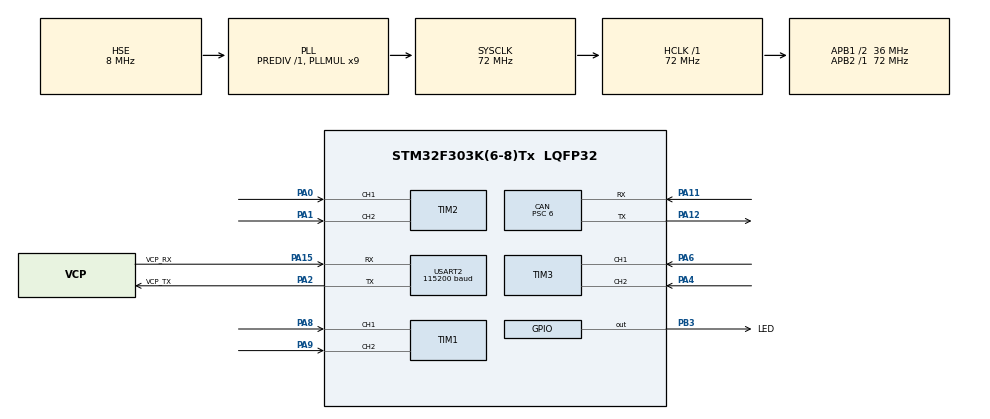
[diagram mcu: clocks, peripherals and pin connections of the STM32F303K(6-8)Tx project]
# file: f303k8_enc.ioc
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CAN.BS1=CAN_BS1_2TQ
CAN.BS2=CAN_BS2_3TQ
CAN.CalculateTimeQuantum=166.66666666666669
CAN.Prescaler=6
Mcu.Family=STM32F3
Mcu.Name=STM32F303K(6-8)Tx
Mcu.Package=LQFP32
NVIC.PriorityGroup=NVIC_PRIORITYGROUP_4
NVIC.TIM1_UP_TIM16_IRQn=true\:0\:0\:false\:false\:true\:true\:true
PA0.Signal=S_TIM2_CH1_ETR
PA1.Signal=S_TIM2_CH2
PA11.Mode=Master
PA11.Signal=CAN_RX
PA12.Mode=Master
PA12.Signal=CAN_TX
PA13.GPIO_Label=SWDIO
PA13.Mode=Serial_Wire
PA13.Signal=SYS_JTMS-SWDIO
PA14.GPIO_Label=SWCLK
PA14.Mode=Serial_Wire
PA14.Signal=SYS_JTCK-SWCLK
PA15.GPIO_Label=VCP_RX
PA15.Mode=Asynchronous
PA15.Signal=USART2_RX
PA2.GPIO_Label=VCP_TX
PA2.Mode=Asynchronous
PA2.Signal=USART2_TX
PA4.Signal=S_TIM3_CH2
PA6.Signal=S_TIM3_CH1
PA8.Signal=S_TIM1_CH1
PA9.Signal=S_TIM1_CH2
PB3.GPIO_Label=LED
PB3.Signal=GPIO_Output
PF0\ /\ OSC_IN.GPIO_Label=MCO
PF0\ /\ OSC_IN.Mode=HSE-External-Clock-Source
PF0\ /\ OSC_IN.Signal=RCC_OSC_IN
ProjectManager.HeapSize=0x200
ProjectManager.StackSize=0x400
ProjectManager.TargetToolchain=STM32CubeIDE
RCC.AHBFreq_Value=72000000
RCC.APB1CLKDivider=RCC_HCLK_DIV2
RCC.APB1Freq_Value=36000000
RCC.APB1TimFreq_Value=72000000
RCC.APB2Freq_Value=72000000
RCC.APB2TimFreq_Value=72000000
RCC.CortexFreq_Value=72000000
RCC.HCLKFreq_Value=72000000
RCC.HSE_VALUE=8000000
RCC.HSI_VALUE=8000000
RCC.PLLMUL=RCC_PLL_MUL9
RCC.PLLSourceVirtual=RCC_PLLSOURCE_HSE
RCC.SYSCLKFreq_VALUE=72000000
RCC.SYSCLKSourceVirtual=RCC_SYSCLKSOURCE_PLLCLK
SH.S_TIM1_CH1.0=TIM1_CH1,Encoder_Interface
SH.S_TIM1_CH2.0=TIM1_CH2,Encoder_Interface
SH.S_TIM2_CH1_ETR.0=TIM2_CH1,Encoder_Interface
SH.S_TIM2_CH2.0=TIM2_CH2,Encoder_Interface
SH.S_TIM3_CH1.0=TIM3_CH1,Encoder_Interface
SH.S_TIM3_CH2.0=TIM3_CH2,Encoder_Interface
TIM16.Period=7200
TIM16.Prescaler=99
USART2.BaudRate=115200
USART2.VirtualMode-Asynchronous=VM_ASYNC
VP_TIM16_VS_ClockSourceINT.Mode=Enable_Timer
board=NUCLEO-F303K8

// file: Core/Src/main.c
/* USER CODE BEGIN Header */
/**
 ******************************************************************************
 * @file           : main.c
 * @brief          : Main program body
 ******************************************************************************
 * @attention
 *
 * <h2><center>&copy; Copyright (c) 2021 STMicroelectronics.
 * All rights reserved.</center></h2>
 *
 * This software component is licensed by ST under BSD 3-Clause license,
 * the "License"; You may not use this file except in compliance with the
 * License. You may obtain a copy of the License at:
 *                        opensource.org/licenses/BSD-3-Clause
 *
 ******************************************************************************
 */
/* USER CODE END Header */
#include "main.h"

/* USER CODE BEGIN Includes */
#include "xprintf.h"
/* USER CODE END Includes */

CAN_HandleTypeDef hcan;

TIM_HandleTypeDef htim1;
TIM_HandleTypeDef htim2;
TIM_HandleTypeDef htim3;
TIM_HandleTypeDef htim16;

UART_HandleTypeDef huart2;

void SystemClock_Config(void);
static void MX_GPIO_Init(void);
static void MX_USART2_UART_Init(void);
static void MX_TIM1_Init(void);
static void MX_TIM2_Init(void);
static void MX_TIM3_Init(void);
static void MX_TIM16_Init(void);
static void MX_CAN_Init(void);

/* USER CODE BEGIN 0 */
void uart_putc(uint8_t c) {
	char buf[1];
	buf[0] = c;
	HAL_UART_Transmit(&huart2, (uint8_t*) buf, sizeof(buf), 0xFFFF);
}
void uart_puts(char *str) {
	while (*str) {
		uart_putc(*str++);
	}
}
TIM_Encoder_InitTypeDef sConfig1 = { 0 };
TIM_Encoder_InitTypeDef sConfig2 = { 0 };
TIM_Encoder_InitTypeDef sConfig3 = { 0 };
TIM_MasterConfigTypeDef sMasterConfig1 = { 0 };
TIM_MasterConfigTypeDef sMasterConfig2 = { 0 };
TIM_MasterConfigTypeDef sMasterConfig3 = { 0 };
int32_t rpm[3] = { 0 };
void Count2rpm() {
	rpm[0] =TIM1->CNT - 30000;
	rpm[1] =TIM2->CNT - 30000;
	rpm[2] =TIM3->CNT - 30000;
	TIM1->CNT = 30000;
	TIM2->CNT = 30000;
	TIM3->CNT = 30000;
}
/* USER CODE END 0 */

int main(void)
{
  /* USER CODE BEGIN 1 */
	xdev_out(uart_putc);

  /* USER CODE END 1 */

  /* MCU Configuration--------------------------------------------------------*/

  /* Reset of all peripherals, Initializes the Flash interface and the Systick. */
  HAL_Init();

  /* Configure the system clock */
  SystemClock_Config();

  /* Initialize all configured peripherals */
  MX_GPIO_Init();
  MX_USART2_UART_Init();
  MX_TIM1_Init();
  MX_TIM2_Init();
  MX_TIM3_Init();
  MX_TIM16_Init();
  MX_CAN_Init();
  /* USER CODE BEGIN 2 */
	if (HAL_TIM_Encoder_Init(&htim1, &sConfig1) != HAL_OK) {
		Error_Handler();
	}
	HAL_TIM_Encoder_Start(&htim1, TIM_CHANNEL_ALL);
	TIM1->CNT = 30000;
	if (HAL_TIM_Encoder_Init(&htim2, &sConfig2) != HAL_OK) {
		Error_Handler();
	}
	HAL_TIM_Encoder_Start(&htim2, TIM_CHANNEL_ALL);
	TIM2->CNT = 30000;
	if (HAL_TIM_Encoder_Init(&htim3, &sConfig3) != HAL_OK) {
		Error_Handler();
	}
	HAL_TIM_Encoder_Start(&htim3, TIM_CHANNEL_ALL);
	TIM3->CNT = 30000;
	HAL_TIM_Base_Start_IT(&htim16);
  /* USER CODE END 2 */

  /* Infinite loop */
  /* USER CODE BEGIN WHILE */
	while (1) {
		HAL_GPIO_TogglePin(LED_GPIO_Port, LED_Pin);
		//xprintf("test\r\n");
		xprintf("%d\t,%d\t,%d\r\n", rpm[0], rpm[1], rpm[2]);
//		xprintf("%d\t,%d\t,%d\r\n", TIM1->CNT, TIM2->CNT, TIM3->CNT);
		HAL_Delay(100);
    /* USER CODE END WHILE */

	}
}

void SystemClock_Config(void)
{
  RCC_OscInitTypeDef RCC_OscInitStruct = {0};
  RCC_ClkInitTypeDef RCC_ClkInitStruct = {0};
  RCC_PeriphCLKInitTypeDef PeriphClkInit = {0};

  /** Initializes the RCC Oscillators according to the specified parameters
  * in the RCC_OscInitTypeDef structure.
  */
  RCC_OscInitStruct.OscillatorType = RCC_OSCILLATORTYPE_HSE;
  RCC_OscInitStruct.HSEState = RCC_HSE_BYPASS;
  RCC_OscInitStruct.HSEPredivValue = RCC_HSE_PREDIV_DIV1;
  RCC_OscInitStruct.HSIState = RCC_HSI_ON;
  RCC_OscInitStruct.PLL.PLLState = RCC_PLL_ON;
  RCC_OscInitStruct.PLL.PLLSource = RCC_PLLSOURCE_HSE;
  RCC_OscInitStruct.PLL.PLLMUL = RCC_PLL_MUL9;
  if (HAL_RCC_OscConfig(&RCC_OscInitStruct) != HAL_OK)
  {
    Error_Handler();
  }
  /** Initializes the CPU, AHB and APB buses clocks
  */
  RCC_ClkInitStruct.ClockType = RCC_CLOCKTYPE_HCLK|RCC_CLOCKTYPE_SYSCLK
                              |RCC_CLOCKTYPE_PCLK1|RCC_CLOCKTYPE_PCLK2;
  RCC_ClkInitStruct.SYSCLKSource = RCC_SYSCLKSOURCE_PLLCLK;
  RCC_ClkInitStruct.AHBCLKDivider = RCC_SYSCLK_DIV1;
  RCC_ClkInitStruct.APB1CLKDivider = RCC_HCLK_DIV2;
  RCC_ClkInitStruct.APB2CLKDivider = RCC_HCLK_DIV1;

  if (HAL_RCC_ClockConfig(&RCC_ClkInitStruct, FLASH_LATENCY_2) != HAL_OK)
  {
    Error_Handler();
  }
  PeriphClkInit.PeriphClockSelection = RCC_PERIPHCLK_TIM1;
  PeriphClkInit.Tim1ClockSelection = RCC_TIM1CLK_HCLK;
  if (HAL_RCCEx_PeriphCLKConfig(&PeriphClkInit) != HAL_OK)
  {
    Error_Handler();
  }
}

static void MX_CAN_Init(void)
{

  hcan.Instance = CAN;
  hcan.Init.Prescaler = 6;
  hcan.Init.Mode = CAN_MODE_NORMAL;
  hcan.Init.SyncJumpWidth = CAN_SJW_1TQ;
  hcan.Init.TimeSeg1 = CAN_BS1_2TQ;
  hcan.Init.TimeSeg2 = CAN_BS2_3TQ;
  hcan.Init.TimeTriggeredMode = DISABLE;
  hcan.Init.AutoBusOff = DISABLE;
  hcan.Init.AutoWakeUp = DISABLE;
  hcan.Init.AutoRetransmission = DISABLE;
  hcan.Init.ReceiveFifoLocked = DISABLE;
  hcan.Init.TransmitFifoPriority = DISABLE;
  if (HAL_CAN_Init(&hcan) != HAL_OK)
  {
    Error_Handler();
  }

}

static void MX_TIM1_Init(void)
{

  TIM_Encoder_InitTypeDef sConfig = {0};
  TIM_MasterConfigTypeDef sMasterConfig = {0};

  /* USER CODE BEGIN TIM1_Init 1 */
	htim1.Instance = TIM1;
	htim1.Init.Prescaler = 0;
	htim1.Init.CounterMode = TIM_COUNTERMODE_UP;
	htim1.Init.Period = 65535;
	htim1.Init.ClockDivision = TIM_CLOCKDIVISION_DIV1;
	htim1.Init.RepetitionCounter = 0;
	htim1.Init.AutoReloadPreload = TIM_AUTORELOAD_PRELOAD_DISABLE;
	sConfig1.EncoderMode = TIM_ENCODERMODE_TI1;
	sConfig1.IC1Polarity = TIM_ICPOLARITY_RISING;
	sConfig1.IC1Selection = TIM_ICSELECTION_DIRECTTI;
	sConfig1.IC1Prescaler = TIM_ICPSC_DIV1;
	sConfig1.IC1Filter = 0;
	sConfig1.IC2Polarity = TIM_ICPOLARITY_RISING;
	sConfig1.IC2Selection = TIM_ICSELECTION_DIRECTTI;
	sConfig1.IC2Prescaler = TIM_ICPSC_DIV1;
	sConfig1.IC2Filter = 0;
	if (HAL_TIM_Encoder_Init(&htim1, &sConfig1) != HAL_OK) {
		Error_Handler();
	}
	sMasterConfig1.MasterOutputTrigger = TIM_TRGO_RESET;
	sMasterConfig1.MasterOutputTrigger2 = TIM_TRGO2_RESET;
	sMasterConfig1.MasterSlaveMode = TIM_MASTERSLAVEMODE_DISABLE;
	if (HAL_TIMEx_MasterConfigSynchronization(&htim1, &sMasterConfig1)
			!= HAL_OK) {
		Error_Handler();
	}

  /* USER CODE END TIM1_Init 1 */
  htim1.Instance = TIM1;
  htim1.Init.Prescaler = 0;
  htim1.Init.CounterMode = TIM_COUNTERMODE_UP;
  htim1.Init.Period = 65535;
  htim1.Init.ClockDivision = TIM_CLOCKDIVISION_DIV1;
  htim1.Init.RepetitionCounter = 0;
  htim1.Init.AutoReloadPreload = TIM_AUTORELOAD_PRELOAD_DISABLE;
  sConfig.EncoderMode = TIM_ENCODERMODE_TI1;
  sConfig.IC1Polarity = TIM_ICPOLARITY_RISING;
  sConfig.IC1Selection = TIM_ICSELECTION_DIRECTTI;
  sConfig.IC1Prescaler = TIM_ICPSC_DIV1;
  sConfig.IC1Filter = 0;
  sConfig.IC2Polarity = TIM_ICPOLARITY_RISING;
  sConfig.IC2Selection = TIM_ICSELECTION_DIRECTTI;
  sConfig.IC2Prescaler = TIM_ICPSC_DIV1;
  sConfig.IC2Filter = 0;
  if (HAL_TIM_Encoder_Init(&htim1, &sConfig) != HAL_OK)
  {
    Error_Handler();
  }
  sMasterConfig.MasterOutputTrigger = TIM_TRGO_RESET;
  sMasterConfig.MasterOutputTrigger2 = TIM_TRGO2_RESET;
  sMasterConfig.MasterSlaveMode = TIM_MASTERSLAVEMODE_DISABLE;
  if (HAL_TIMEx_MasterConfigSynchronization(&htim1, &sMasterConfig) != HAL_OK)
  {
    Error_Handler();
  }

}

static void MX_TIM2_Init(void)
{

  TIM_Encoder_InitTypeDef sConfig = {0};
  TIM_MasterConfigTypeDef sMasterConfig = {0};

  /* USER CODE BEGIN TIM2_Init 1 */
	htim2.Instance = TIM2;
	htim2.Init.Prescaler = 0;
	htim2.Init.CounterMode = TIM_COUNTERMODE_UP;
	htim2.Init.Period = 4294967295;
	htim2.Init.ClockDivision = TIM_CLOCKDIVISION_DIV1;
	htim2.Init.AutoReloadPreload = TIM_AUTORELOAD_PRELOAD_DISABLE;
	sConfig2.EncoderMode = TIM_ENCODERMODE_TI1;
	sConfig2.IC1Polarity = TIM_ICPOLARITY_RISING;
	sConfig2.IC1Selection = TIM_ICSELECTION_DIRECTTI;
	sConfig2.IC1Prescaler = TIM_ICPSC_DIV1;
	sConfig2.IC1Filter = 0;
	sConfig2.IC2Polarity = TIM_ICPOLARITY_RISING;
	sConfig2.IC2Selection = TIM_ICSELECTION_DIRECTTI;
	sConfig2.IC2Prescaler = TIM_ICPSC_DIV1;
	sConfig2.IC2Filter = 0;
	if (HAL_TIM_Encoder_Init(&htim2, &sConfig2) != HAL_OK) {
		Error_Handler();
	}
	sMasterConfig2.MasterOutputTrigger = TIM_TRGO_RESET;
	sMasterConfig2.MasterSlaveMode = TIM_MASTERSLAVEMODE_DISABLE;
	if (HAL_TIMEx_MasterConfigSynchronization(&htim2, &sMasterConfig2)
			!= HAL_OK) {
		Error_Handler();
	}

  /* USER CODE END TIM2_Init 1 */
  htim2.Instance = TIM2;
  htim2.Init.Prescaler = 0;
  htim2.Init.CounterMode = TIM_COUNTERMODE_UP;
  htim2.Init.Period = 4294967295;
  htim2.Init.ClockDivision = TIM_CLOCKDIVISION_DIV1;
  htim2.Init.AutoReloadPreload = TIM_AUTORELOAD_PRELOAD_DISABLE;
  sConfig.EncoderMode = TIM_ENCODERMODE_TI1;
  sConfig.IC1Polarity = TIM_ICPOLARITY_RISING;
  sConfig.IC1Selection = TIM_ICSELECTION_DIRECTTI;
  sConfig.IC1Prescaler = TIM_ICPSC_DIV1;
  sConfig.IC1Filter = 0;
  sConfig.IC2Polarity = TIM_ICPOLARITY_RISING;
  sConfig.IC2Selection = TIM_ICSELECTION_DIRECTTI;
  sConfig.IC2Prescaler = TIM_ICPSC_DIV1;
  sConfig.IC2Filter = 0;
  if (HAL_TIM_Encoder_Init(&htim2, &sConfig) != HAL_OK)
  {
    Error_Handler();
  }
  sMasterConfig.MasterOutputTrigger = TIM_TRGO_RESET;
  sMasterConfig.MasterSlaveMode = TIM_MASTERSLAVEMODE_DISABLE;
  if (HAL_TIMEx_MasterConfigSynchronization(&htim2, &sMasterConfig) != HAL_OK)
  {
    Error_Handler();
  }

}

static void MX_TIM3_Init(void)
{

  TIM_Encoder_InitTypeDef sConfig = {0};
  TIM_MasterConfigTypeDef sMasterConfig = {0};

  /* USER CODE BEGIN TIM3_Init 1 */

	htim3.Instance = TIM3;
	htim3.Init.Prescaler = 0;
	htim3.Init.CounterMode = TIM_COUNTERMODE_UP;
	htim3.Init.Period = 65535;
	htim3.Init.ClockDivision = TIM_CLOCKDIVISION_DIV1;
	htim3.Init.AutoReloadPreload = TIM_AUTORELOAD_PRELOAD_DISABLE;
	sConfig3.EncoderMode = TIM_ENCODERMODE_TI1;
	sConfig3.IC1Polarity = TIM_ICPOLARITY_RISING;
	sConfig3.IC1Selection = TIM_ICSELECTION_DIRECTTI;
	sConfig3.IC1Prescaler = TIM_ICPSC_DIV1;
	sConfig3.IC1Filter = 0;
	sConfig3.IC2Polarity = TIM_ICPOLARITY_RISING;
	sConfig3.IC2Selection = TIM_ICSELECTION_DIRECTTI;
	sConfig3.IC2Prescaler = TIM_ICPSC_DIV1;
	sConfig3.IC2Filter = 0;
	if (HAL_TIM_Encoder_Init(&htim3, &sConfig3) != HAL_OK) {
		Error_Handler();
	}
	sMasterConfig3.MasterOutputTrigger = TIM_TRGO_RESET;
	sMasterConfig3.MasterSlaveMode = TIM_MASTERSLAVEMODE_DISABLE;
	if (HAL_TIMEx_MasterConfigSynchronization(&htim3, &sMasterConfig3)
			!= HAL_OK) {
		Error_Handler();
	}
  /* USER CODE END TIM3_Init 1 */
  htim3.Instance = TIM3;
  htim3.Init.Prescaler = 0;
  htim3.Init.CounterMode = TIM_COUNTERMODE_UP;
  htim3.Init.Period = 65535;
  htim3.Init.ClockDivision = TIM_CLOCKDIVISION_DIV1;
  htim3.Init.AutoReloadPreload = TIM_AUTORELOAD_PRELOAD_DISABLE;
  sConfig.EncoderMode = TIM_ENCODERMODE_TI1;
  sConfig.IC1Polarity = TIM_ICPOLARITY_RISING;
  sConfig.IC1Selection = TIM_ICSELECTION_DIRECTTI;
  sConfig.IC1Prescaler = TIM_ICPSC_DIV1;
  sConfig.IC1Filter = 0;
  sConfig.IC2Polarity = TIM_ICPOLARITY_RISING;
  sConfig.IC2Selection = TIM_ICSELECTION_DIRECTTI;
  sConfig.IC2Prescaler = TIM_ICPSC_DIV1;
  sConfig.IC2Filter = 0;
  if (HAL_TIM_Encoder_Init(&htim3, &sConfig) != HAL_OK)
  {
    Error_Handler();
  }
  sMasterConfig.MasterOutputTrigger = TIM_TRGO_RESET;
  sMasterConfig.MasterSlaveMode = TIM_MASTERSLAVEMODE_DISABLE;
  if (HAL_TIMEx_MasterConfigSynchronization(&htim3, &sMasterConfig) != HAL_OK)
  {
    Error_Handler();
  }

}

static void MX_TIM16_Init(void)
{

  htim16.Instance = TIM16;
  htim16.Init.Prescaler = 99;
  htim16.Init.CounterMode = TIM_COUNTERMODE_UP;
  htim16.Init.Period = 7200;
  htim16.Init.ClockDivision = TIM_CLOCKDIVISION_DIV1;
  htim16.Init.RepetitionCounter = 0;
  htim16.Init.AutoReloadPreload = TIM_AUTORELOAD_PRELOAD_DISABLE;
  if (HAL_TIM_Base_Init(&htim16) != HAL_OK)
  {
    Error_Handler();
  }

}

static void MX_USART2_UART_Init(void)
{

  huart2.Instance = USART2;
  huart2.Init.BaudRate = 115200;
  huart2.Init.WordLength = UART_WORDLENGTH_8B;
  huart2.Init.StopBits = UART_STOPBITS_1;
  huart2.Init.Parity = UART_PARITY_NONE;
  huart2.Init.Mode = UART_MODE_TX_RX;
  huart2.Init.HwFlowCtl = UART_HWCONTROL_NONE;
  huart2.Init.OverSampling = UART_OVERSAMPLING_16;
  huart2.Init.OneBitSampling = UART_ONE_BIT_SAMPLE_DISABLE;
  huart2.AdvancedInit.AdvFeatureInit = UART_ADVFEATURE_NO_INIT;
  if (HAL_UART_Init(&huart2) != HAL_OK)
  {
    Error_Handler();
  }

}

static void MX_GPIO_Init(void)
{
  GPIO_InitTypeDef GPIO_InitStruct = {0};

  /* GPIO Ports Clock Enable */
  __HAL_RCC_GPIOF_CLK_ENABLE();
  __HAL_RCC_GPIOA_CLK_ENABLE();
  __HAL_RCC_GPIOB_CLK_ENABLE();

  /*Configure GPIO pin Output Level */
  HAL_GPIO_WritePin(LED_GPIO_Port, LED_Pin, GPIO_PIN_RESET);

  /*Configure GPIO pin : LED_Pin */
  GPIO_InitStruct.Pin = LED_Pin;
  GPIO_InitStruct.Mode = GPIO_MODE_OUTPUT_PP;
  GPIO_InitStruct.Pull = GPIO_NOPULL;
  GPIO_InitStruct.Speed = GPIO_SPEED_FREQ_LOW;
  HAL_GPIO_Init(LED_GPIO_Port, &GPIO_InitStruct);

}

void Error_Handler(void)
{
}

/************************ (C) COPYRIGHT STMicroelectronics *****END OF FILE****/
